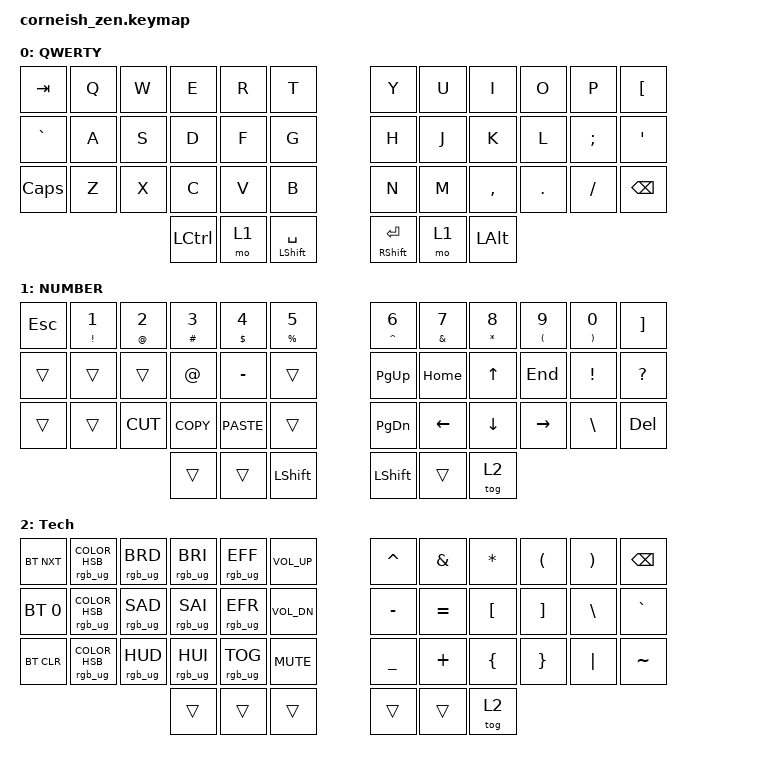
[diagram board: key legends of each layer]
/*
 * Copyright (c) 2020 The ZMK Contributors
 *
 * SPDX-License-Identifier: MIT
 */

#include <behaviors.dtsi>
#include <dt-bindings/zmk/bt.h>
#include <dt-bindings/zmk/keys.h>
#include <dt-bindings/zmk/rgb.h>

/ {
    chosen {
        zmk,matrix_transform = &default_transform;

        // zmk,matrix_transform = &five_column_transform;
    };
};

/ {
    behaviors {
        td0: td0 {
            compatible = "zmk,behavior-tap-dance";
            label = "TD0";
            #binding-cells = <0>;
            bindings = <&kp LEFT_SHIFT>, <&kp CAPS>;
        };
    };

    keymap {
        compatible = "zmk,keymap";

        default_layer {
            display-name = "QWERTY";

            // --------------------------------------------------------------------------------
            // |  TAB |  Q  |  W  |  E  |  R  |  T  |   |  Y  |  U   |  I  |  O  |  P  | BKSP |
            // | CTRL |  A  |  S  |  D  |  F  |  G  |   |  H  |  J   |  K  |  L  |  ;  |  '   | 
            // | SHFT |  Z  |  X  |  C  |  V  |  B  |   |  N  |  M   |  ,  |  .  |  /  | ESC  |
            //                    | GUI | LWR | SPC |   | ENT | RSE  | ALT |

            bindings = <
&kp TAB    &kp Q  &kp W  &kp E      &kp R  &kp T              &kp Y            &kp U  &kp I      &kp O    &kp P     &kp LBKT
&kp GRAVE  &kp A  &kp S  &kp D      &kp F  &kp G              &kp H            &kp J  &kp K      &kp L    &kp SEMI  &kp SQT
&kp CAPS   &kp Z  &kp X  &kp C      &kp V  &kp B              &kp N            &kp M  &kp COMMA  &kp DOT  &kp FSLH  &kp BSPC
                         &kp LCTRL  &mo 1  &mt LSHFT SPACE    &mt RSHFT ENTER  &mo 1  &kp LALT
            >;
        };

        lower_layer {
            display-name = "NUMBER";

            // -----------------------------------------------------------------------------------------
            // |  TAB |  1  |  2  |  3  |  4  |  5  |   |  6  |  7  |  8  |  9  |  0  | BKSP |
            // | BTCLR| BT1 | BT2 | BT3 | BT4 | BT5 |   | LFT | DWN |  UP | RGT |     |      |
            // | SHFT |     |     |     |     |     |   |     |     |     |     |     |      |
            //                    | GUI |     | SPC |   | ENT |     | ALT |

            bindings = <
&kp ESC  &mt EXCL N1  &mt AT N2  &mt HASH N3  &mt DLLR N4  &mt PRCNT N5    &mt CARET N6  &mt AMPS N7  &mt STAR N8  &mt LPAR N9  &mt RPAR N0  &kp RBKT
&trans   &trans       &trans     &kp AT       &kp MINUS    &trans          &kp PG_UP     &kp HOME     &kp UP       &kp END      &kp EXCL     &kp QUESTION
&trans   &trans       &kp K_CUT  &kp K_COPY   &kp K_PASTE  &trans          &kp PG_DN     &kp LEFT     &kp DOWN     &kp RIGHT    &kp BSLH     &kp DEL
                                 &trans       &trans       &kp LSHFT       &kp LSHFT     &trans       &tog 2
            >;
        };

        tech_layer {
            display-name = "Tech";

            // -----------------------------------------------------------------------------------------
            // |  TAB |  !  |  @  |  #  |  $  |  %  |   |  ^  |  &  |  *  |  (  |  )  | BKSP |
            // | CTRL |     |     |     |     |     |   |  -  |  =  |  [  |  ]  |  \  |  `   |
            // | SHFT |     |     |     |     |     |   |  _  |  +  |  {  |  }  | "|" |  ~   |
            //                    | GUI |     | SPC |   | ENT |     | ALT |

            bindings = <
&bt BT_NXT    &rgb_ug RGB_COLOR_HSB(0,100,50)   &rgb_ug RGB_BRD  &rgb_ug RGB_BRI  &rgb_ug RGB_EFF  &kp C_VOL_UP    &kp CARET  &kp AMPS   &kp ASTRK  &kp LPAR  &kp RPAR  &kp BSPC
&bt BT_SEL 0  &rgb_ug RGB_COLOR_HSB(42,100,50)  &rgb_ug RGB_SAD  &rgb_ug RGB_SAI  &rgb_ug RGB_EFR  &kp C_VOL_DN    &kp MINUS  &kp EQUAL  &kp LBKT   &kp RBKT  &kp BSLH  &kp GRAVE
&bt BT_CLR    &rgb_ug RGB_COLOR_HSB(71,100,26)  &rgb_ug RGB_HUD  &rgb_ug RGB_HUI  &rgb_ug RGB_TOG  &kp K_MUTE      &kp UNDER  &kp PLUS   &kp LBRC   &kp RBRC  &kp PIPE  &kp TILDE
                                                                 &trans           &trans           &trans          &trans     &trans     &tog 2
            >;
        };
    };
};
